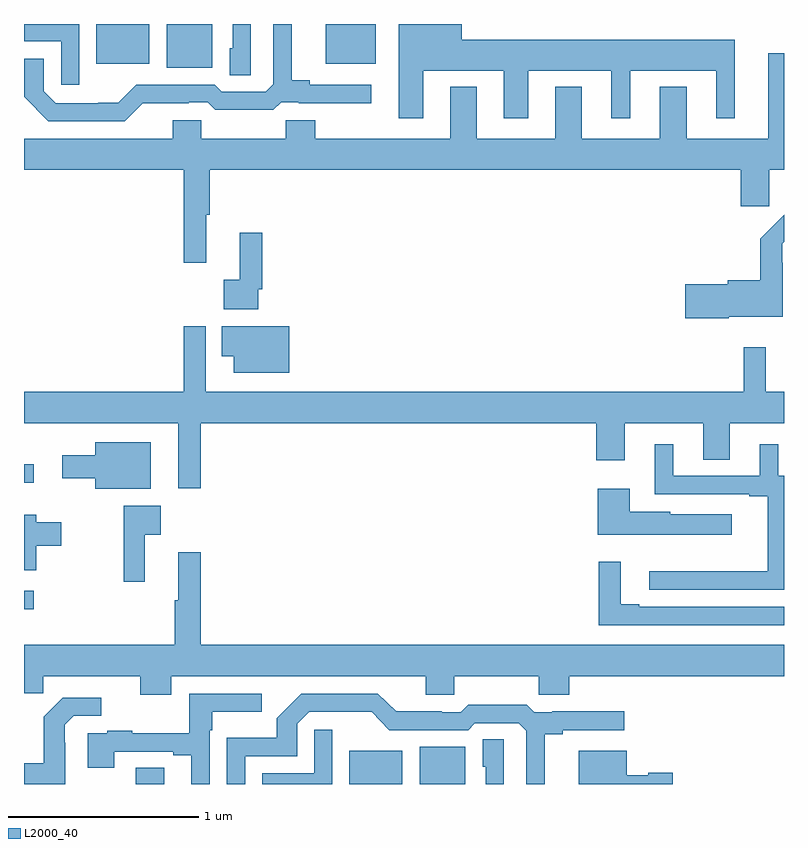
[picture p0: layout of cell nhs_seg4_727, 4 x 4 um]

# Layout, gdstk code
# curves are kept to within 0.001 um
import gdstk
lib = gdstk.Library(unit=1e-6, precision=1e-09)
def R(c, l, rs):  # rectangles x0, y0, x1, y1
    for r in rs: c.add(gdstk.rectangle(r[:2], r[2:], *l))
def P(c, l, *ps):  # polygons
    for p in ps: c.add(gdstk.Polygon(p, *l))
L2000_40 = (2000, 40)

nhs_seg4_727 = lib.new_cell('nhs_seg4_727')
R(nhs_seg4_727, L2000_40, [(147.587,814.9,147.739,814.985), (148.712,814.9,148.99,815.074), (149.084,814.9,149.323,815.095), (147,815.819,147.052,815.916), (147,816.485,147.052,816.582), (147.752,818.669,147.991,818.9), (147.38,818.69,147.658,818.9), (148.589,818.69,148.852,818.9)])
P(nhs_seg4_727, L2000_40, [(147.626,818.483),(147.866,818.483),(147.866,818.487),(147.966,818.487),(148.006,818.448),(148.313,818.448),(148.353,818.487),(148.447,818.487),(148.447,818.483),(148.828,818.483),(148.828,818.58),(148.504,818.58),(148.504,818.603),(148.409,818.603),(148.409,818.9),(148.311,818.9),(148.311,818.583),(148.272,818.544),(148.041,818.544),(148.005,818.58),(147.591,818.58),(147.497,818.486),(147.392,818.486),(147.392,818.484),(147.168,818.484),(147.105,818.547),(147.105,818.718),(147,818.718),(147,818.517),(147.128,818.388),(147.531,818.388)],
  [(148.194,818.9),(148.098,818.9),(148.098,818.772),(148.082,818.772),(148.082,818.629),(148.194,818.629)],
  [(149.101,818.654),(149.525,818.654),(149.525,818.403),(149.653,818.403),(149.653,818.654),(150.092,818.654),(150.092,818.403),(150.19,818.403),(150.19,818.654),(150.644,818.654),(150.644,818.403),(150.742,818.403),(150.742,818.818),(149.305,818.818),(149.305,818.9),(148.973,818.9),(148.973,818.403),(149.101,818.403)],
  [(147.291,818.9),(147,818.9),(147,818.808),(147.195,818.808),(147.195,818.58),(147.291,818.58)],
  [(147.959,817.896),(147.977,817.896),(147.977,818.132),(150.773,818.132),(150.773,817.941),(150.923,817.941),(150.923,818.132),(151,818.132),(151,818.746),(150.917,818.746),(150.917,818.296),(150.487,818.296),(150.487,818.569),(150.347,818.569),(150.347,818.296),(149.935,818.296),(149.935,818.569),(149.795,818.569),(149.795,818.296),(149.383,818.296),(149.383,818.569),(149.243,818.569),(149.243,818.296),(148.533,818.296),(148.533,818.394),(148.378,818.394),(148.378,818.296),(147.933,818.296),(147.933,818.394),(147.782,818.394),(147.782,818.296),(147,818.296),(147,818.132),(147.841,818.132),(147.841,817.644),(147.959,817.644)],
  [(150.708,817.358),(150.993,817.358),(150.993,817.643),(150.99,817.643),(150.99,817.743),(151,817.753),(151,817.897),(150.875,817.771),(150.875,817.552),(150.704,817.552),(150.704,817.529),(150.48,817.529),(150.48,817.351),(150.708,817.351)],
  [(148.233,817.504),(148.253,817.504),(148.253,817.801),(148.136,817.801),(148.136,817.553),(148.05,817.553),(148.05,817.4),(148.233,817.4)],
  [(147.929,816.8),(150.011,816.8),(150.011,816.603),(150.163,816.603),(150.163,816.8),(150.575,816.8),(150.575,816.607),(150.715,816.607),(150.715,816.8),(151,816.8),(151,816.964),(150.905,816.964),(150.905,817.198),(150.787,817.198),(150.787,816.964),(147.957,816.964),(147.957,817.309),(147.841,817.309),(147.841,816.964),(147,816.964),(147,816.8),(147.812,816.8),(147.812,816.456),(147.929,816.456)],
  [(148.396,817.309),(148.042,817.309),(148.042,817.151),(148.103,817.151),(148.103,817.064),(148.396,817.064)],
  [(147.667,816.7),(147.374,816.7),(147.374,816.631),(147.201,816.631),(147.201,816.509),(147.374,816.509),(147.374,816.455),(147.667,816.455)],
  [(151,816.522),(150.97,816.522),(150.97,816.688),(150.872,816.688),(150.872,816.522),(150.418,816.522),(150.418,816.688),(150.32,816.688),(150.32,816.426),(150.818,816.426),(150.818,816.414),(150.914,816.414),(150.914,816.02),(150.291,816.02),(150.291,815.922),(151,815.922)],
  [(150.724,816.319),(150.402,816.319),(150.402,816.334),(150.187,816.334),(150.187,816.454),(150.02,816.454),(150.02,816.212),(150.724,816.212)],
  [(147.635,816.212),(147.721,816.212),(147.721,816.364),(147.525,816.364),(147.525,815.964),(147.635,815.964)],
  [(147.064,816.155),(147.196,816.155),(147.196,816.277),(147.064,816.277),(147.064,816.316),(147,816.316),(147,816.026),(147.064,816.026)],
  [(151,815.832),(150.238,815.832),(150.238,815.845),(150.142,815.845),(150.142,816.07),(150.025,816.07),(150.025,815.736),(151,815.736)],
  [(147.812,816.121),(147.812,815.868),(147.793,815.868),(147.793,815.632),(147,815.632),(147,815.378),(147.101,815.378),(147.101,815.468),(147.611,815.468),(147.611,815.369),(147.775,815.369),(147.775,815.468),(149.114,815.468),(149.114,815.37),(149.265,815.37),(149.265,815.468),(149.71,815.468),(149.71,815.37),(149.87,815.37),(149.87,815.468),(151,815.468),(151,815.632),(147.929,815.632),(147.929,816.121)],
  [(147.978,815.183),(147.991,815.183),(147.991,815.279),(148.252,815.279),(148.252,815.376),(147.87,815.376),(147.87,815.168),(147.571,815.168),(147.571,815.179),(147.439,815.179),(147.439,815.166),(147.335,815.166),(147.335,814.986),(147.475,814.986),(147.475,815.07),(147.785,815.07),(147.785,815.052),(147.881,815.052),(147.881,814.9),(147.978,814.9)],
  [(148.164,815.046),(148.437,815.046),(148.437,815.217),(148.5,815.28),(148.829,815.279),(148.923,815.184),(149.337,815.184),(149.373,815.22),(149.604,815.22),(149.643,815.181),(149.643,814.9),(149.741,814.9),(149.741,815.162),(149.836,815.162),(149.836,815.184),(150.16,815.184),(150.16,815.282),(149.779,815.282),(149.779,815.277),(149.685,815.277),(149.645,815.317),(149.338,815.317),(149.298,815.277),(149.198,815.277),(149.198,815.282),(148.958,815.282),(148.863,815.376),(148.46,815.376),(148.33,815.246),(148.33,815.143),(148.068,815.143),(148.068,814.9),(148.164,814.9)],
  [(147.216,815.117),(147.214,815.117),(147.214,815.212),(147.261,815.259),(147.406,815.259),(147.406,815.353),(147.205,815.353),(147.105,815.253),(147.105,815.008),(147,815.008),(147,814.9),(147.216,814.9)],
  [(148.623,815.185),(148.527,815.185),(148.527,814.956),(148.254,814.956),(148.254,814.9),(148.623,814.9)],
  [(149.526,815.135),(149.414,815.135),(149.414,814.992),(149.43,814.992),(149.43,814.9),(149.526,814.9)],
  [(150.415,814.958),(150.285,814.958),(150.285,814.945),(150.172,814.945),(150.172,815.074),(149.921,815.074),(149.921,814.9),(150.415,814.9)])

lib.write_gds('nhs_seg4_727.gds')
